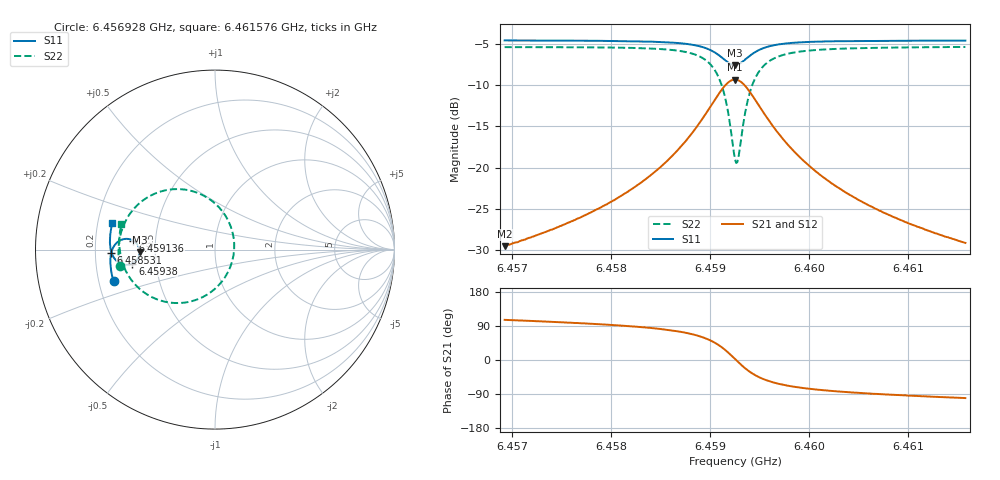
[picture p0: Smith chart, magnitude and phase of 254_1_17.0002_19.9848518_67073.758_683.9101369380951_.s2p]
#  HZ  S  RI  R  50.00
! Rohde & Schwarz Vector Network Analyzer
! Rohde-Schwarz,ZNB20-2Port,1311601062101988,3.16
! Created: UTC 3/20/2024, 11:03:24 PM
! freq[Hz]  re:S11  im:S11  re:S21  im:S21  re:S12  im:S12  re:S22  im:S22
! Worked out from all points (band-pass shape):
!   401 points, 6.456928 GHz to 6.461576 GHz, reference 50 ohm
!   highest |S21| = -9.30 dB at 6.459252 GHz (marker M1); lowest = -29.5 dB at 6.456928 GHz (marker M2)
!   |S21| within 3 dB of the highest: 6.45902 GHz to 6.459484 GHz (464.7 kHz wide, 0.00719 % of centre)
!   lowest |S11| = -7.5 dB at 6.459252 GHz (marker M3), VSWR 2.44, Z = 20.5 - j0.618 ohm
!   |S11| at or under -10 dB: nowhere
!   |S22| runs from -19.4 to -5.3 dB; largest |S21 - S12| = 0.013
!   S11 on the Smith chart (normalised r, x): 6.456928 GHz: 0.26, -0.14; 6.458531 GHz: 0.27, -0.01; 6.459136 GHz: 0.37, +0.05; 6.45938 GHz: 0.37, -0.07; 6.461576 GHz: 0.26, +0.12
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6.4569276e9  -0.5652 -0.1768  -0.00915 0.032  -0.00741 0.0321  -0.5313 -0.0933
6.4577063e9  -0.5799 -0.109  -0.00605 0.05  -0.00352 0.0493  -0.538 -0.00277
6.4581479e9  -0.5833 -0.0649  0.000108 0.07  0.00331 0.0687  -0.5302 0.0672
6.4584849e9  -0.5796 -0.0246  0.0134 0.0982  0.0174 0.0955  -0.506 0.1429
6.4585314e9  -0.5783 -0.0184  0.0168 0.1035  0.0207 0.1006  -0.4998 0.1562
6.4587406e9  -0.5663 0.0135  0.0425 0.1352  0.0466 0.1304  -0.4516 0.228
6.4588917e9  -0.5453 0.0399  0.0846 0.1654  0.0881 0.159  -0.3737 0.2924
6.4590428e9  -0.4995 0.0597  0.176 0.1848  0.177 0.1775  -0.207 0.3371
6.4591357e9  -0.4552 0.0499  0.2653 0.1543  0.2658 0.1484  -0.0412 0.2882
6.4591822e9  -0.4341 0.0313  0.3089 0.1119  0.3102 0.1067  0.0415 0.2129
6.459252e9  -0.4193 -0.0124  0.3424 0.0159  0.346 0.00911  0.107 0.0347
6.4592636e9  -0.4196 -0.0204  0.3423 -0.00164  0.3461 -0.00919  0.1067 0.00135
6.4592868e9  -0.4232 -0.0357  0.337 -0.0362  0.3408 -0.0451  0.0959 -0.0638
6.4593333e9  -0.4385 -0.0617  0.3089 -0.0956  0.3113 -0.1073  0.0395 -0.1765
6.4593798e9  -0.4602 -0.0779  0.2675 -0.1365  0.2668 -0.1496  -0.0445 -0.2513
6.4594728e9  -0.5032 -0.0847  0.1837 -0.168  0.1776 -0.1794  -0.2119 -0.2978
6.4596238e9  -0.5467 -0.0644  0.0963 -0.1548  0.0881 -0.1609  -0.3784 -0.2498
6.4597865e9  -0.5683 -0.0368  0.0517 -0.1273  0.0442 -0.1301  -0.4586 -0.1785
6.4600306e9  -0.5812 -0.00117  0.0226 -0.0963  0.0169 -0.0968  -0.5069 -0.0967
6.4603676e9  -0.5856 0.0386  0.00681 -0.0704  0.00283 -0.07  -0.5284 -0.02
6.4608092e9  -0.5837 0.0829  -0.00113 -0.0514  -0.00401 -0.0506  -0.5331 0.0506
6.4615763e9  -0.5715 0.1507  -0.00633 -0.0343  -0.00804 -0.0334  -0.5222 0.1408
